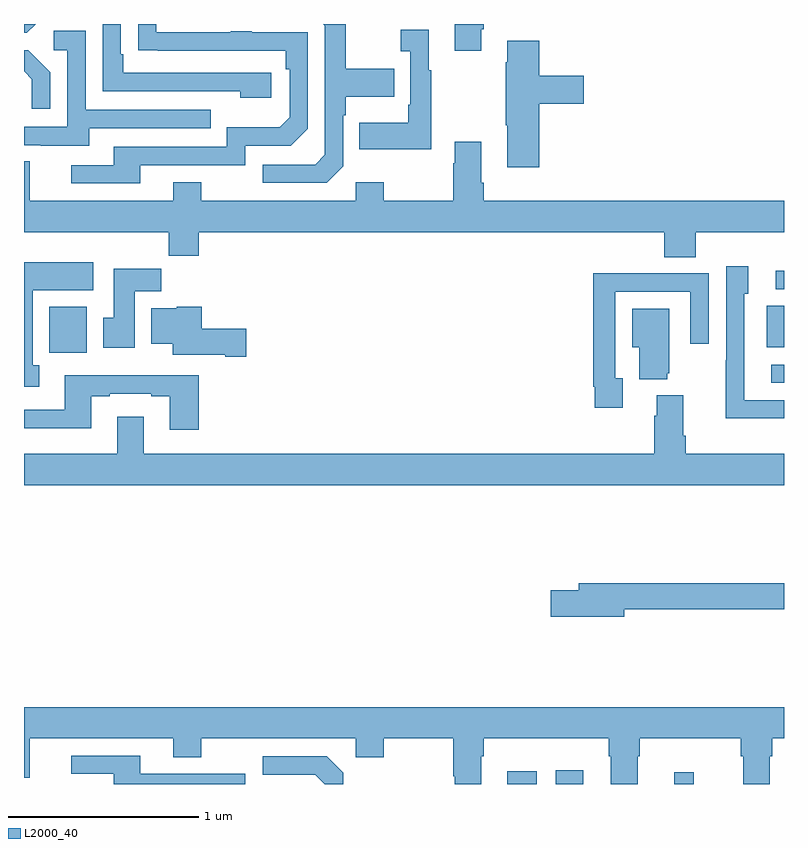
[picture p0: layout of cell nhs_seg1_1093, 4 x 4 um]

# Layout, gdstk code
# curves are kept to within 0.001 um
import gdstk
lib = gdstk.Library(unit=1e-6, precision=1e-09)
def R(c, l, rs):  # rectangles x0, y0, x1, y1
    for r in rs: c.add(gdstk.rectangle(r[:2], r[2:], *l))
def P(c, l, *ps):  # polygons
    for p in ps: c.add(gdstk.Polygon(p, *l))
L2000_40 = (2000, 40)

nhs_seg1_1093 = lib.new_cell('nhs_seg1_1093')
R(nhs_seg1_1093, L2000_40, [(173.543,510.199,173.698,510.265), (173.798,510.199,173.944,510.271), (174.422,510.199,174.524,510.262), (174.933,512.31,175,512.406), (171.134,512.468,171.331,512.71), (174.908,512.498,175,512.717), (174.957,512.802,175,512.9)])
P(nhs_seg1_1093, L2000_40, [(172.3,513.942),(171.523,513.942),(171.523,514.039),(171.51,514.039),(171.51,514.199),(171.414,514.199),(171.414,513.846),(172.139,513.846),(172.139,513.812),(172.3,513.812)],
  [(171.062,514.199),(171,514.199),(171,514.152),(171.015,514.152)],
  [(171.613,513.456),(172.164,513.456),(172.164,513.558),(172.404,513.558),(172.494,513.648),(172.494,514.155),(172.199,514.155),(172.199,514.16),(172.087,514.16),(172.087,514.155),(171.697,514.155),(171.697,514.199),(171.601,514.199),(171.601,514.06),(172.378,514.059),(172.378,513.962),(172.398,513.962),(172.398,513.708),(172.345,513.655),(172.068,513.655),(172.068,513.552),(171.473,513.552),(171.473,513.456),(171.249,513.456),(171.249,513.36),(171.613,513.36)],
  [(173.407,514.171),(173.42,514.171),(173.42,514.199),(173.267,514.199),(173.267,514.059),(173.407,514.059)],
  [(172.68,513.45),(172.68,513.719),(172.693,513.719),(172.693,513.815),(172.949,513.815),(172.949,513.963),(172.693,513.963),(172.693,514.199),(172.576,514.199),(172.584,514.191),(172.584,513.51),(172.533,513.459),(172.257,513.459),(172.257,513.363),(172.593,513.363)],
  [(173.143,513.955),(173.131,513.955),(173.131,514.168),(172.983,514.168),(172.983,514.055),(173.034,514.055),(173.034,513.775),(173.022,513.775),(173.022,513.679),(172.765,513.679),(172.765,513.539),(173.143,513.539)],
  [(171.343,513.651),(171.983,513.651),(171.983,513.747),(171.324,513.747),(171.324,514.163),(171.156,514.163),(171.156,514.062),(171.228,514.062),(171.228,513.657),(171,513.657),(171,513.561),(171.089,513.561),(171.089,513.557),(171.343,513.557)],
  [(173.711,513.779),(173.947,513.779),(173.947,513.926),(173.711,513.926),(173.711,514.111),(173.543,514.111),(173.543,513.998),(173.536,513.998),(173.536,513.667),(173.543,513.667),(173.543,513.444),(173.711,513.444)],
  [(171.138,513.946),(171.022,514.062),(171,514.062),(171,513.95),(171.041,513.909),(171.041,513.753),(171.138,513.753)],
  [(173.42,513.364),(173.407,513.364),(173.407,513.58),(173.267,513.58),(173.267,513.467),(173.26,513.467),(173.26,513.268),(172.893,513.268),(172.893,513.367),(172.746,513.367),(172.746,513.268),(171.933,513.268),(171.933,513.367),(171.785,513.367),(171.785,513.268),(171.031,513.268),(171.031,513.476),(171,513.476),(171,513.104),(171.763,513.104),(171.763,512.98),(171.92,512.98),(171.92,513.104),(174.371,513.104),(174.371,512.971),(174.536,512.971),(174.536,513.104),(175,513.104),(175,513.268),(173.42,513.268)],
  [(171.079,512.402),(171.046,512.402),(171.046,512.798),(171.364,512.798),(171.364,512.944),(171,512.944),(171,512.289),(171.079,512.289)],
  [(175,512.22),(174.792,512.22),(174.792,512.778),(174.811,512.778),(174.811,512.923),(174.696,512.923),(174.696,512.429),(174.694,512.429),(174.694,512.123),(175,512.123)],
  [(171.583,512.792),(171.722,512.792),(171.722,512.911),(171.473,512.911),(171.473,512.652),(171.416,512.652),(171.416,512.496),(171.583,512.496)],
  [(174.151,512.334),(174.111,512.334),(174.111,512.79),(174.507,512.79),(174.507,512.517),(174.603,512.517),(174.603,512.886),(174.287,512.886),(174.287,512.888),(173.995,512.888),(173.995,512.29),(174.003,512.29),(174.003,512.178),(174.151,512.178)],
  [(172.171,512.594),(171.935,512.594),(171.935,512.71),(171.804,512.71),(171.804,512.704),(171.671,512.704),(171.671,512.516),(171.782,512.516),(171.782,512.459),(172.058,512.459),(172.058,512.447),(172.171,512.447)],
  [(174.386,512.361),(174.397,512.361),(174.397,512.701),(174.2,512.701),(174.2,512.498),(174.239,512.498),(174.239,512.33),(174.386,512.33)],
  [(171.92,512.35),(171.215,512.35),(171.215,512.169),(171,512.169),(171,512.072),(171.355,512.072),(171.355,512.241),(171.451,512.241),(171.451,512.253),(171.671,512.253),(171.671,512.241),(171.767,512.241),(171.767,512.064),(171.92,512.064)],
  [(175,511.936),(174.482,511.936),(174.482,512.032),(174.469,512.032),(174.469,512.245),(174.329,512.245),(174.329,512.138),(174.317,512.138),(174.317,511.936),(171.631,511.936),(171.631,512.131),(171.491,512.131),(171.491,511.936),(171,511.936),(171,511.772),(175,511.772)],
  [(174.16,511.12),(175,511.12),(175,511.256),(173.921,511.256),(173.921,511.22),(173.772,511.22),(173.772,511.078),(174.16,511.078)],
  [(171,510.232),(171.031,510.232),(171.031,510.44),(171.785,510.44),(171.785,510.341),(171.933,510.341),(171.933,510.44),(172.746,510.44),(172.746,510.341),(172.893,510.341),(172.893,510.44),(173.26,510.44),(173.26,510.241),(173.267,510.241),(173.267,510.199),(173.407,510.199),(173.407,510.344),(173.42,510.344),(173.42,510.44),(174.077,510.44),(174.077,510.344),(174.089,510.344),(174.089,510.199),(174.229,510.199),(174.229,510.344),(174.242,510.344),(174.242,510.44),(174.773,510.44),(174.773,510.344),(174.785,510.344),(174.785,510.199),(174.925,510.199),(174.925,510.344),(174.938,510.344),(174.938,510.44),(175,510.44),(175,510.604),(171,510.604)],
  [(172.164,510.252),(171.613,510.252),(171.613,510.348),(171.249,510.348),(171.249,510.252),(171.473,510.252),(171.473,510.199),(172.164,510.199)],
  [(172.68,510.258),(172.593,510.345),(172.257,510.345),(172.257,510.249),(172.533,510.249),(172.583,510.199),(172.68,510.199)])

lib.write_gds('nhs_seg1_1093.gds')
